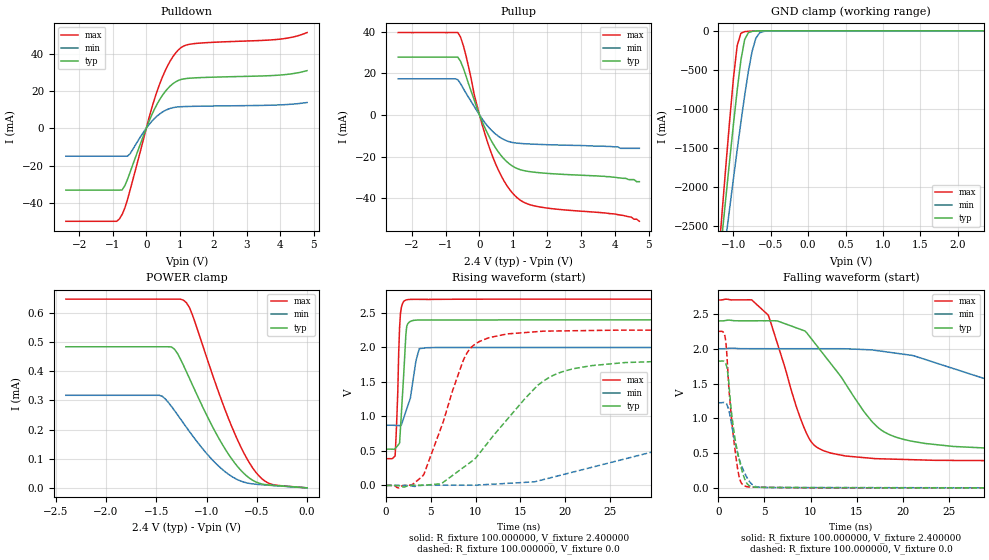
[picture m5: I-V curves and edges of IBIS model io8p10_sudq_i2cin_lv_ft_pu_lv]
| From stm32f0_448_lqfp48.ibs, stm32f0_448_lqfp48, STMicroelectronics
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|   Model io8p10_sudq_i2cin_lv_ft_pu_lv
[Model]  io8p10_sudq_i2cin_lv_ft_pu_lv
Model_type I/O
Polarity   Non-Inverting
Enable   Active-Low
Vinl =   0.720000V
Vinh =   1.680000V
Vmeas =  1.200000V
Cref =   50.000000pF
Rref =   100.000000M
Vref =   0.0V
C_comp   2.067900pF   1.988600pF   2.164800pF
[Temperature Range]   25.000000   0.125000k   -40.000000
[Pullup Reference]   2.400000V   2.000000V   2.700000V
[Pulldown Reference]   0.0V   0.0V   0.0V
[POWER Clamp Reference]   2.400000V   2.000000V   2.700000V
[GND Clamp Reference]   0.0V   0.0V   0.0V
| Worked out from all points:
|   slope of the pulldown table from 0 to 0.36 V, typ, clamps not added: 25.5 ohm
|   slope of the pullup table from 0 to 0.36 V, typ, clamps not added: 28.4 ohm
|   GND clamp passes 1 mA (typ) near -0.64 V on its own axis
|   rising waveform, R_fixture 100.000000, V_fixture 2.400000: 20-80 % time 501ps typ, 1.02ns min, 334ps max; typ from 0.527 V to 2.4 V
|   rising waveform, R_fixture 100.000000, V_fixture 0.0: 20-80 % time 7.27ns typ, 22.1ns min, 3.54ns max; typ from 0.001 V to 1.82 V
|   falling waveform, R_fixture 100.000000, V_fixture 2.400000: 20-80 % time 6.28ns typ, 18.8ns min, 3.34ns max; typ from 2.4 V to 0.527 V
|   falling waveform, R_fixture 100.000000, V_fixture 0.0: 20-80 % time 1.17ns typ, 1.4ns min, 928ps max; typ from 1.82 V to 0.001 V
[Pulldown]
|Voltage   I(typ)   I(min)   I(max)
-2.4V     -33.16mA   -14.98mA   -49.86mA
-880mV    -33.16mA   -14.98mA   -49.86mA
-800mV    -33.16mA   -14.98mA   -48.55mA
-640mV    -30.75mA   -14.98mA   -42.77mA
-480mV    -23.43mA   -13.57mA   -32.92mA
80mV      3.651mA    1.905mA    5.506mA
400mV     15.37mA    7.665mA    23.73mA
720mV     22.75mA    10.69mA    36.23mA
1.04V     26.18mA    11.57mA    43.27mA
1.52V     27.09mA    11.81mA    45.55mA
4V        28.55mA    12.55mA    47.81mA
4.8V      30.9mA     13.81mA    51.31mA
[Pullup]
|Voltage   I(typ)   I(min)   I(max)
-2.4V     27.74mA    17.36mA    39.51mA
-640mV    27.74mA    16.89mA    39.51mA
-560mV    25.73mA    15.05mA    37.34mA
-480mV    22.59mA    12.74mA    33.43mA
-80mV     3.427mA    2.072mA    4.957mA
160mV     -6.219mA   -3.714mA   -9.136mA
320mV     -11.51mA   -6.781mA   -16.98mA
720mV     -21mA      -11.8mA    -31.53mA
1.12V     -25.77mA   -13.54mA   -39.82mA
1.76V     -27.69mA   -14.12mA   -44.06mA
4V        -29.9mA    -15.3mA    -47.5mA
4.72V     -32mA      -16mA      -51mA
[GND_clamp]
|Voltage   I(typ)   I(min)   I(max)
-2.4V     -9.567A    -9.921A    -9.731A
-1.2V     -3.09A     -3.428A    -2.911A
-1.15V    -2.606A    -3.04A     -2.31A
-1.1V     -2.127A    -2.655A    -1.719A
-1.05V    -1.657A    -2.274A    -1.146A
-950mV    -765.3mA   -1.53A     -190.2mA
-900mV    -376.6mA   -1.172A    -30.81mA
-850mV    -112.3mA   -832.5mA   -10.23mA
-750mV    -6.57mA    -264.6mA   -4.026mA
-700mV    -2.581mA   -94.26mA   -2.329mA
-600mV    -416.4uA   -8.158mA   -368uA
2.35V     0A         0A         0A
[POWER_clamp]
|Voltage   I(typ)   I(min)   I(max)
-2.4V     483.6uA    317.3uA    647uA
-1.47V    483.6uA    317.3uA    647uA
-1.32V    475.8uA    265.5uA    647uA
-1.23V    420.2uA    221.8uA    643.4uA
-1.17V    375.2uA    193uA      618uA
-1.14V    352.5uA    178.9uA    592.4uA
-840mV    147.3uA    62.31uA    290.1uA
-690mV    72.45uA    27.82uA    163.1uA
-540mV    25.82uA    13.54uA    67.87uA
-450mV    13.39uA    10.73uA    31.49uA
-360mV    9.214uA    8.518uA    13uA
0V        0A         0A         0A
[Ramp]
| variable   typ   min   max
dV/dt_r  1.09275/7.26473n   0.73293/22.08271n   1.34920/3.54056n
dV/dt_f  1.12393/6.27325n   0.67486/18.80501n   1.38687/3.33248n
R_load = 100.000000
[Rising Waveform]
R_fixture= 100.000000
V_fixture= 2.400000
V_fixture_min= 2.000000
V_fixture_max= 2.700000
|time   V(typ)   V(min)   V(max)
0s        526.5mV    872.5mV    388.6mV
1.001ns   534.5mV    870.8mV    427.8mV
1.301ns   580mV      869.3mV    1.368V
1.401ns   595.2mV    869mV      1.925V
1.502ns   617.7mV    868.7mV    2.296V
1.702ns   1.048V     879mV      2.581V
2.202ns   2.19V      1.072V     2.687V
2.503ns   2.356V     1.187V     2.695V
3.704ns   2.398V     1.983V     2.696V
49.85ns   2.4V       2V         2.7V
[Rising Waveform]
R_fixture= 100.000000
V_fixture= 0.0
V_fixture_min= 0.0
V_fixture_max= 0.0
|time   V(typ)   V(min)   V(max)
0s        1.055mV    1.354mV    939.9uV
2.803ns   2.595mV    -5.333mV   6.013mV
4.204ns   4.255mV    3.374mV    158.2mV
6.206ns   29.86mV    4.223mV    863.5mV
9.009ns   297.7mV    4.563mV    1.915V
13.41ns   941.4mV    29.97mV    2.193V
18.62ns   1.593V     120.3mV    2.238V
26.63ns   1.781V     383.8mV    2.25V
51.45ns   1.823V     1.103V     2.25V
99.7ns    1.822V     1.224V     2.25V
[Falling Waveform]
R_fixture= 100.000000
V_fixture= 2.400000
V_fixture_min= 2.000000
V_fixture_max= 2.700000
|time   V(typ)   V(min)   V(max)
0s        2.4V       2V         2.7V
3.604ns   2.401V     2V         2.702V
5.405ns   2.402V     2V         2.484V
9.81ns    2.192V     2V         719.2mV
13.81ns   1.495V     1.999V     458.7mV
18.02ns   804.4mV    1.959V     417mV
25.43ns   597.3mV    1.719V     395.2mV
34.43ns   550.7mV    1.333V     389.1mV
50.25ns   530.2mV    964.3mV    388.5mV
99.7ns    526.5mV    872.5mV    388.6mV
[Falling Waveform]
R_fixture= 100.000000
V_fixture= 0.0
V_fixture_min= 0.0
V_fixture_max= 0.0
|time   V(typ)   V(min)   V(max)
0s        1.822V     1.224V     2.25V
700.7ps   1.803V     1.224V     2.181V
1.001ns   1.658V     1.167V     1.713V
1.401ns   1.1V       928.1mV    1.015V
1.902ns   627.7mV    599.2mV    437.8mV
2.302ns   380mV      395.2mV    130.8mV
2.903ns   110mV      197.7mV    24.56mV
3.704ns   16.12mV    43.53mV    10.89mV
4.905ns   7.831mV    7.576mV    9.452mV
49.85ns   1.055mV    1.354mV    939.9uV
